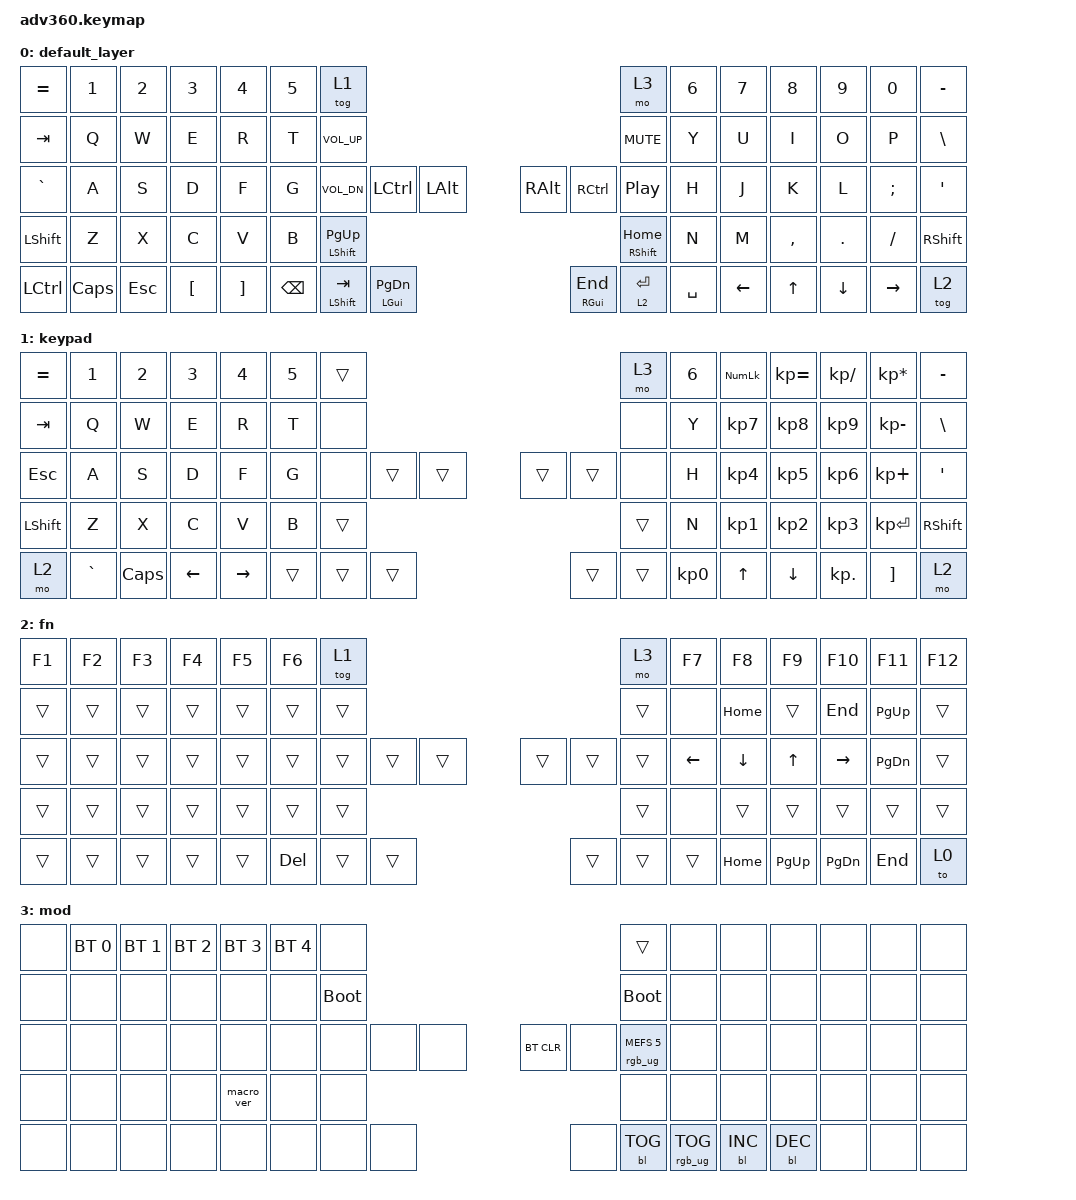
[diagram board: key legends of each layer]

/*
 * Copyright (c) 2020 The ZMK Contributors
 *
 * SPDX-License-Identifier: MIT
 */


/* THIS FILE WAS GENERATED!
 *
 * This file was generated automatically. You may or may not want to
 * edit it directly.
 */

#include <behaviors.dtsi>
#include <dt-bindings/zmk/keys.h>
#include <dt-bindings/zmk/bt.h>
#include <dt-bindings/zmk/rgb.h>
#include <dt-bindings/zmk/backlight.h>

&mt {
    tapping-term-ms = <200>;
    quick-tap-ms = <160>;
    //global-quick-tap;
};
&lt {
    tapping-term-ms = <200>;
    quick-tap-ms = <160>;
    //global-quick-tap;
};

/ {
  behaviors {
    #include "macros.dtsi"
    #include "version.dtsi"

    #ifndef VERSION_MACRO
      macro_ver: macro_ver {
        compatible = "zmk,behavior-macro";
        label = "macro_version";
        #binding-cells = <0>;
        bindings = <&kp RET>;
      };
      #endif

    hm: homerow_mods {
        compatible = "zmk,behavior-hold-tap";
        label = "HOMEROW_MODS";
        #binding-cells = <2>;
        tapping-term-ms = <200>;
        quick_tap_ms = <175>;
        flavor = "tap-preferred";
        bindings = <&kp>, <&kp>;
    };
  };

    keymap {
        compatible = "zmk,keymap";


        default_layer {
            bindings = <
  &kp EQUAL    &kp N1   &kp N2            &kp N3             &kp N4  &kp N5                   &tog 1                                                                                             &mo 3  &kp N6    &kp N7     &kp N8    &kp N9     &kp N0   &kp MINUS
    &kp TAB     &kp Q    &kp W             &kp E              &kp R   &kp T             &kp C_VOL_UP                                                                                        &kp C_MUTE   &kp Y     &kp U      &kp I     &kp O      &kp P    &kp BSLH
  &kp GRAVE     &kp A    &kp S             &kp D              &kp F   &kp G             &kp C_VOL_DN       &kp LCTRL          &kp LALT                         &kp RALT    &kp RCTRL  &kp C_PLAY_PAUSE   &kp H     &kp J      &kp K     &kp L   &kp SEMI     &kp SQT
 &kp LSHIFT     &kp Z    &kp X             &kp C              &kp V   &kp B                                           &mt LSHIFT PG_UP                  &mt RSHIFT HOME                                  &kp N     &kp M  &kp COMMA   &kp DOT   &kp FSLH  &kp RSHIFT
  &kp LCTRL  &kp CAPS  &kp ESC  &kp LEFT_BRACKET  &kp RIGHT_BRACKET                    &kp BACKSPACE  &mt LSHIFT TAB    &mt LGUI PG_DN                     &mt RGUI END  &lt 2 ENTER         &kp SPACE          &kp LEFT     &kp UP  &kp DOWN  &kp RIGHT      &tog 2
            >;
        };

        keypad {
            bindings = <
 &kp EQUAL     &kp N1    &kp N2    &kp N3     &kp N4  &kp N5            &trans                                                      &mo 3  &kp N6  &kp KP_NUM  &kp KP_EQUAL  &kp KP_DIVIDE  &kp KP_MULTIPLY  &kp MINUS
   &kp TAB      &kp Q     &kp W     &kp E      &kp R   &kp T             &none                                                      &none   &kp Y   &kp KP_N7     &kp KP_N8      &kp KP_N9     &kp KP_MINUS   &kp BSLH
   &kp ESC      &kp A     &kp S     &kp D      &kp F   &kp G             &none  &trans  &trans                  &trans  &trans      &none   &kp H   &kp KP_N4     &kp KP_N5      &kp KP_N6      &kp KP_PLUS    &kp SQT
 &kp LSHFT      &kp Z     &kp X     &kp C      &kp V   &kp B                            &trans                  &trans                      &kp N   &kp KP_N1     &kp KP_N2      &kp KP_N3     &kp KP_ENTER  &kp RSHFT
     &mo 2  &kp GRAVE  &kp CAPS  &kp LEFT  &kp RIGHT                    &trans  &trans  &trans                  &trans  &trans  &kp KP_N0              &kp UP      &kp DOWN     &kp KP_DOT         &kp RBKT      &mo 2
            >;
        };

        fn {
            bindings = <
 &kp F1  &kp F2  &kp F3  &kp F4  &kp F5  &kp F6             &tog 1                                                   &mo 3    &kp F7    &kp F8     &kp F9    &kp F10        &kp F11  &kp F12
 &trans  &trans  &trans  &trans  &trans  &trans             &trans                                                  &trans     &none  &kp HOME     &trans    &kp END    &kp PAGE_UP   &trans
 &trans  &trans  &trans  &trans  &trans  &trans             &trans  &trans  &trans                  &trans  &trans  &trans  &kp LEFT  &kp DOWN     &kp UP  &kp RIGHT  &kp PAGE_DOWN   &trans
 &trans  &trans  &trans  &trans  &trans  &trans                             &trans                  &trans                     &none    &trans     &trans     &trans         &trans   &trans
 &trans  &trans  &trans  &trans  &trans                    &kp DEL  &trans  &trans                  &trans  &trans  &trans            &kp HOME  &kp PG_UP  &kp PG_DN        &kp END    &to 0
            >;
        };

        mod {
            bindings = <
  &none  &bt BT_SEL 0  &bt BT_SEL 1  &bt BT_SEL 2  &bt BT_SEL 3  &bt BT_SEL 4                  &none                                                                          &trans   &none       &none       &none   &none   &none   &none
  &none         &none         &none         &none         &none         &none            &bootloader                                                                     &bootloader   &none       &none       &none   &none   &none   &none
  &none         &none         &none         &none         &none         &none                  &none   &none   &none                  &bt BT_CLR       &none  &rgb_ug RGB_MEFS_CMD 5   &none       &none       &none   &none   &none   &none
  &none         &none         &none         &none    &macro_ver         &none                                  &none                       &none                                       &none       &none       &none   &none   &none   &none
  &none         &none         &none         &none         &none                                &none   &none   &none                       &none  &bl BL_TOG         &rgb_ug RGB_TOG          &bl BL_INC  &bl BL_DEC   &none   &none   &none
            >;
        };

    };
};
